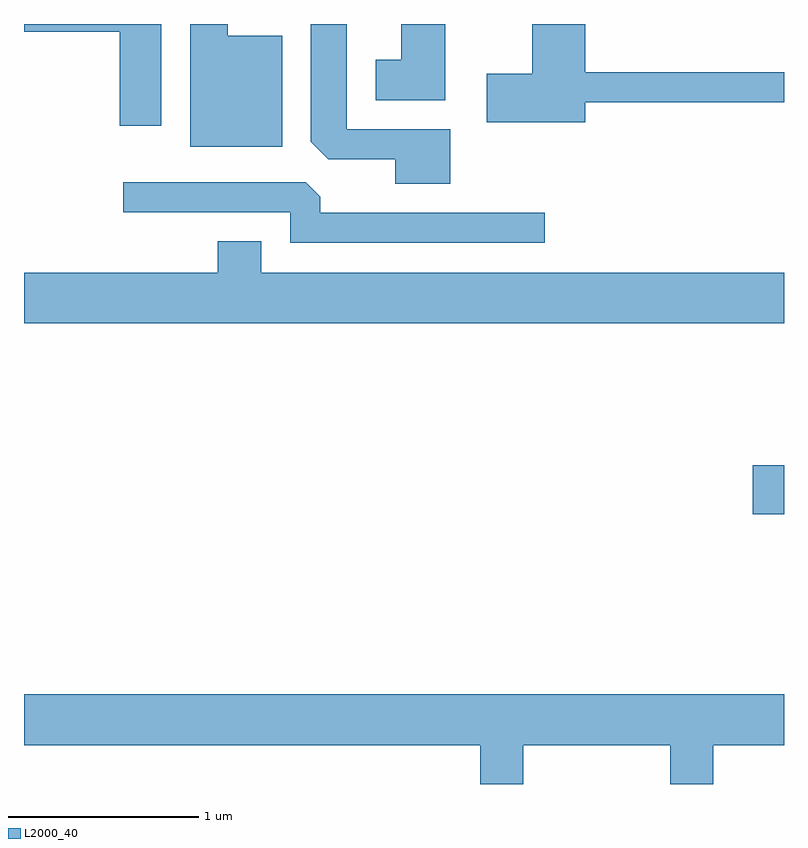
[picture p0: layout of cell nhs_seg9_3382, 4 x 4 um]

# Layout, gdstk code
import gdstk
lib = gdstk.Library(unit=1e-6, precision=1e-09)
def R(c, l, rs):  # rectangles x0, y0, x1, y1
    for r in rs: c.add(gdstk.rectangle(r[:2], r[2:], *l))
def P(c, l, *ps):  # polygons
    for p in ps: c.add(gdstk.Polygon(p, *l))
L2000_40 = (2000, 40)

nhs_seg9_3382 = lib.new_cell('nhs_seg9_3382')
R(nhs_seg9_3382, L2000_40, [(287.446,2061.851,287.611,2062.109)])
P(nhs_seg9_3382, L2000_40, [(284.969,2064.369),(284.684,2064.369),(284.684,2064.432),(284.486,2064.432),(284.486,2063.786),(284.969,2063.786)],
  [(285.854,2063.879),(285.309,2063.879),(285.309,2064.432),(285.121,2064.432),(285.121,2063.812),(285.212,2063.721),(285.566,2063.721),(285.566,2063.591),(285.854,2063.591)],
  [(286.564,2064.021),(287.611,2064.021),(287.611,2064.179),(286.564,2064.179),(286.564,2064.432),(286.286,2064.432),(286.286,2064.169),(286.046,2064.169),(286.046,2063.916),(286.564,2063.916)],
  [(284.334,2064.432),(283.611,2064.432),(283.611,2064.391),(284.116,2064.391),(284.116,2063.896),(284.334,2063.896)],
  [(285.829,2064.432),(285.596,2064.432),(285.596,2064.244),(285.461,2064.244),(285.461,2064.031),(285.829,2064.031)],
  [(286.353,2063.439),(285.169,2063.439),(285.169,2063.524),(285.094,2063.599),(284.133,2063.599),(284.133,2063.441),(285.011,2063.441),(285.011,2063.281),(286.353,2063.281)],
  [(287.611,2063.124),(284.859,2063.124),(284.859,2063.289),(284.631,2063.289),(284.631,2063.124),(283.611,2063.124),(283.611,2062.856),(287.611,2062.856)],
  [(286.239,2060.636),(287.011,2060.636),(287.011,2060.432),(287.239,2060.432),(287.239,2060.636),(287.611,2060.636),(287.611,2060.904),(283.611,2060.904),(283.611,2060.636),(286.011,2060.636),(286.011,2060.432),(286.239,2060.432)])

lib.write_gds('nhs_seg9_3382.gds')
